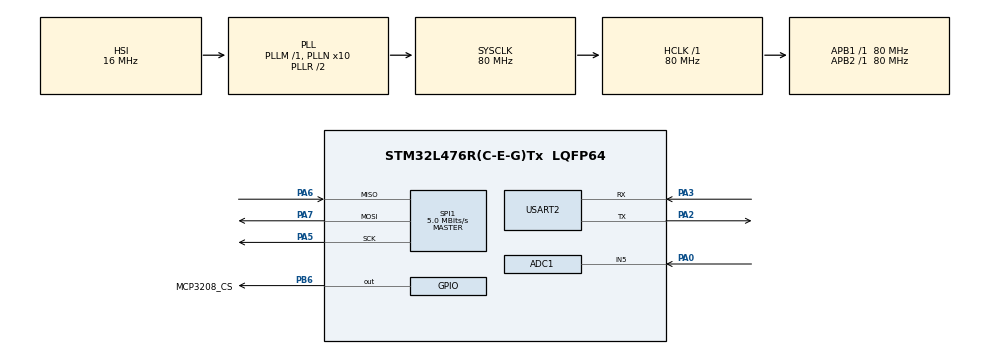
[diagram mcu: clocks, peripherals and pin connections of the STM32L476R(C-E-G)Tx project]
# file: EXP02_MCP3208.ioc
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ADC1.Channel-1\#ChannelRegularConversion=ADC_CHANNEL_5
ADC1.NbrOfConversionFlag=1
ADC1.OffsetNumber-1\#ChannelRegularConversion=ADC_OFFSET_NONE
ADC1.Rank-1\#ChannelRegularConversion=1
ADC1.SamplingTime-1\#ChannelRegularConversion=ADC_SAMPLETIME_2CYCLES_5
ADC1.master=1
Mcu.Family=STM32L4
Mcu.Name=STM32L476R(C-E-G)Tx
Mcu.Package=LQFP64
NVIC.PriorityGroup=NVIC_PRIORITYGROUP_4
PA0.Signal=ADCx_IN5
PA2.Mode=Asynchronous
PA2.Signal=USART2_TX
PA3.Mode=Asynchronous
PA3.Signal=USART2_RX
PA5.Mode=Full_Duplex_Master
PA5.Signal=SPI1_SCK
PA6.Mode=Full_Duplex_Master
PA6.Signal=SPI1_MISO
PA7.Mode=Full_Duplex_Master
PA7.Signal=SPI1_MOSI
PB6.GPIO_Label=MCP3208_CS
PB6.PinState=GPIO_PIN_SET
PB6.Signal=GPIO_Output
ProjectManager.HeapSize=0x200
ProjectManager.StackSize=0x400
ProjectManager.TargetToolchain=Makefile
RCC.ADCFreq_Value=64000000
RCC.AHBFreq_Value=80000000
RCC.APB1Freq_Value=80000000
RCC.APB1TimFreq_Value=80000000
RCC.APB2Freq_Value=80000000
RCC.APB2TimFreq_Value=80000000
RCC.CortexFreq_Value=80000000
RCC.HCLKFreq_Value=80000000
RCC.HSE_VALUE=8000000
RCC.HSI_VALUE=16000000
RCC.MSI_VALUE=4000000
RCC.PLLN=10
RCC.PLLSourceVirtual=RCC_PLLSOURCE_HSI
RCC.PREFETCH_ENABLE=1
RCC.SYSCLKFreq_VALUE=80000000
RCC.SYSCLKSource=RCC_SYSCLKSOURCE_PLLCLK
RCC.USBFreq_Value=64000000
RCC.VCOOutputFreq_Value=160000000
SH.ADCx_IN5.0=ADC1_IN5,IN5-Single-Ended
SPI1.BaudRatePrescaler=SPI_BAUDRATEPRESCALER_16
SPI1.CalculateBaudRate=5.0 MBits/s
SPI1.DataSize=SPI_DATASIZE_8BIT
SPI1.Direction=SPI_DIRECTION_2LINES
SPI1.Mode=SPI_MODE_MASTER
SPI1.VirtualType=VM_MASTER
USART2.VirtualMode-Asynchronous=VM_ASYNC
board=NUCLEO-L476RG

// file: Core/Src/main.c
/* USER CODE BEGIN Header */
/**
  ******************************************************************************
  * @file           : main.c
  * @brief          : Main program body
  ******************************************************************************
  * @attention
  *
  * Copyright Diplom Ingenieurin Djamila Boethfueer Boucetta.
  * All rights reserved...............
  *
  ******************************************************************************
  */
/* USER CODE END Header */
#include "stm32l4xx_hal.h"
#include "main.h"
#include "adc.h"
#include "spi.h"
#include "usart.h"
#include "gpio.h"
#include <stdint.h>

/* USER CODE BEGIN Includes */
#include "mcp3208.h"
#include <stdio.h>
#include <string.h>
/* USER CODE END Includes */

/* USER CODE BEGIN PV */
static char     uart_buf[128];
static uint32_t measure_count = 0U;
/* USER CODE END PV */

void SystemClock_Config(void);
/* USER CODE BEGIN PFP */
static void     App_Init(void);
static void     App_MeasureAndTransmit(void);
static uint16_t App_ReadInternalADC(void);
static float    App_ConvertADCtoVoltage(uint16_t raw_value, uint16_t max_value, float vref);
/* USER CODE END PFP */

/* USER CODE BEGIN 0 */
static uint16_t App_ReadInternalADC(void)
{
    extern ADC_HandleTypeDef hadc1;

    if (HAL_ADC_Start(&hadc1) != HAL_OK)
        return 0xFFFFU;

    if (HAL_ADC_PollForConversion(&hadc1, 10U) != HAL_OK)
    {
        HAL_ADC_Stop(&hadc1);
        return 0xFFFFU;
    }

    uint16_t value = (uint16_t)HAL_ADC_GetValue(&hadc1);
    HAL_ADC_Stop(&hadc1);
    return value;
}

static float App_ConvertADCtoVoltage(uint16_t raw_value, uint16_t max_value, float vref)
{
    if (max_value == 0U) return 0.0f;
    return (float)raw_value * (vref / (float)max_value);
}

static void App_PrintSeparator(void)
{
    extern UART_HandleTypeDef huart2;
    const char *sep = "----------------------------------------\r\n";
    HAL_UART_Transmit(&huart2, (uint8_t *)sep, (uint16_t)strlen(sep), 100U);
}
/* USER CODE END 0 */

int main(void)
{

  /* MCU Configuration--------------------------------------------------------*/

  /* Reset of all peripherals, Initializes the Flash interface and the Systick. */
  HAL_Init();

  /* Configure the system clock */
  SystemClock_Config();

  /* Initialize all configured peripherals */
  MX_GPIO_Init();
  MX_USART2_UART_Init();
  MX_ADC1_Init();
  MX_SPI1_Init();
  /* USER CODE BEGIN 2 */
  HAL_Delay(500);   /* 500ms warten bis MCP3208 stabil */
  App_Init();
  /* USER CODE END 2 */

  /* Infinite loop */
  while (1)
  {

    /* USER CODE BEGIN 3 */
    App_MeasureAndTransmit();
  }
  /* USER CODE END 3 */
}

void SystemClock_Config(void)
{
  RCC_OscInitTypeDef RCC_OscInitStruct = {0};
  RCC_ClkInitTypeDef RCC_ClkInitStruct = {0};

  /** Configure the main internal regulator output voltage
  */
  if (HAL_PWREx_ControlVoltageScaling(PWR_REGULATOR_VOLTAGE_SCALE1) != HAL_OK)
  {
    Error_Handler();
  }

  /** Initializes the RCC Oscillators according to the specified parameters
  * in the RCC_OscInitTypeDef structure.
  */
  RCC_OscInitStruct.OscillatorType = RCC_OSCILLATORTYPE_HSI;
  RCC_OscInitStruct.HSIState = RCC_HSI_ON;
  RCC_OscInitStruct.HSICalibrationValue = RCC_HSICALIBRATION_DEFAULT;
  RCC_OscInitStruct.PLL.PLLState = RCC_PLL_ON;
  RCC_OscInitStruct.PLL.PLLSource = RCC_PLLSOURCE_HSI;
  RCC_OscInitStruct.PLL.PLLM = 1;
  RCC_OscInitStruct.PLL.PLLN = 10;
  RCC_OscInitStruct.PLL.PLLP = RCC_PLLP_DIV7;
  RCC_OscInitStruct.PLL.PLLQ = RCC_PLLQ_DIV2;
  RCC_OscInitStruct.PLL.PLLR = RCC_PLLR_DIV2;
  if (HAL_RCC_OscConfig(&RCC_OscInitStruct) != HAL_OK)
  {
    Error_Handler();
  }

  /** Initializes the CPU, AHB and APB buses clocks
  */
  RCC_ClkInitStruct.ClockType = RCC_CLOCKTYPE_HCLK|RCC_CLOCKTYPE_SYSCLK
                              |RCC_CLOCKTYPE_PCLK1|RCC_CLOCKTYPE_PCLK2;
  RCC_ClkInitStruct.SYSCLKSource = RCC_SYSCLKSOURCE_PLLCLK;
  RCC_ClkInitStruct.AHBCLKDivider = RCC_SYSCLK_DIV1;
  RCC_ClkInitStruct.APB1CLKDivider = RCC_HCLK_DIV1;
  RCC_ClkInitStruct.APB2CLKDivider = RCC_HCLK_DIV1;

  if (HAL_RCC_ClockConfig(&RCC_ClkInitStruct, FLASH_LATENCY_4) != HAL_OK)
  {
    Error_Handler();
  }
}

/* USER CODE BEGIN 4 */
static void App_Init(void)
{
    extern UART_HandleTypeDef huart2;
    extern ADC_HandleTypeDef  hadc1;

    MCP3208_Init();

    if (HAL_ADCEx_Calibration_Start(&hadc1, ADC_SINGLE_ENDED) != HAL_OK)
        Error_Handler();

    const char *welcome =
        "\r\n"
        "========================================\r\n"
        "  EXP 02: MCP3208 + Interner ADC       \r\n"
        "  Nucleo-L476RG  |  HAL-Bibliothek     \r\n"
        "========================================\r\n"
        "  Format: [N] EXT(CH0): raw / V         \r\n"
        "               INT(PA0): raw / V         \r\n"
        "               Diff: mV                  \r\n"
        "========================================\r\n\r\n";

    HAL_UART_Transmit(&huart2, (uint8_t *)welcome, (uint16_t)strlen(welcome), 1000U);
}

static void App_MeasureAndTransmit(void)
{
    extern UART_HandleTypeDef huart2;

    measure_count++;

    /* Externer ADC: MCP3208 Kanal 0 */
    MCP3208_Result_t ext_result;
    MCP3208_Status_t ext_status = MCP3208_ReadVoltage(7U, &ext_result);

    /* Interner ADC: STM32 ADC1 / PA0 */
    uint16_t int_raw  = App_ReadInternalADC();
    float    int_volt = App_ConvertADCtoVoltage(int_raw, APP_ADC_MAX_VALUE, APP_ADC_VREF_V);

    /* Differenz in Millivolt */
    float diff_mv = 0.0f;
    if (ext_status == MCP3208_OK && int_raw != 0xFFFFU)
        diff_mv = (ext_result.voltage - int_volt) * 1000.0f;

    /* UART-Ausgabe */
    int len = snprintf(uart_buf, sizeof(uart_buf),
                       "[%4lu] Messung:\r\n", (unsigned long)measure_count);
    HAL_UART_Transmit(&huart2, (uint8_t *)uart_buf, (uint16_t)len, 100U);

    if (ext_status == MCP3208_OK)
        len = snprintf(uart_buf, sizeof(uart_buf),
                       "  EXT MCP3208 CH0 : %4u / %.4f V\r\n",
                       ext_result.raw, (double)ext_result.voltage);
    else
        len = snprintf(uart_buf, sizeof(uart_buf),
                       "  EXT MCP3208 CH0 : FEHLER\r\n");
    HAL_UART_Transmit(&huart2, (uint8_t *)uart_buf, (uint16_t)len, 100U);

    if (int_raw != 0xFFFFU)
        len = snprintf(uart_buf, sizeof(uart_buf),
                       "  INT STM32  PA0  : %4u / %.4f V\r\n",
                       int_raw, (double)int_volt);
    else
        len = snprintf(uart_buf, sizeof(uart_buf),
                       "  INT STM32  PA0  : FEHLER\r\n");
    HAL_UART_Transmit(&huart2, (uint8_t *)uart_buf, (uint16_t)len, 100U);

    if (ext_status == MCP3208_OK && int_raw != 0xFFFFU)
    {
        len = snprintf(uart_buf, sizeof(uart_buf),
                       "  Differenz (E-I) : %+.2f mV\r\n", (double)diff_mv);
        HAL_UART_Transmit(&huart2, (uint8_t *)uart_buf, (uint16_t)len, 100U);
    }

    App_PrintSeparator();
    HAL_Delay(APP_MEASURE_INTERVAL_MS);
}
/* USER CODE END 4 */

void Error_Handler(void)
{
  __disable_irq();
  while (1)
  {
  }
}
